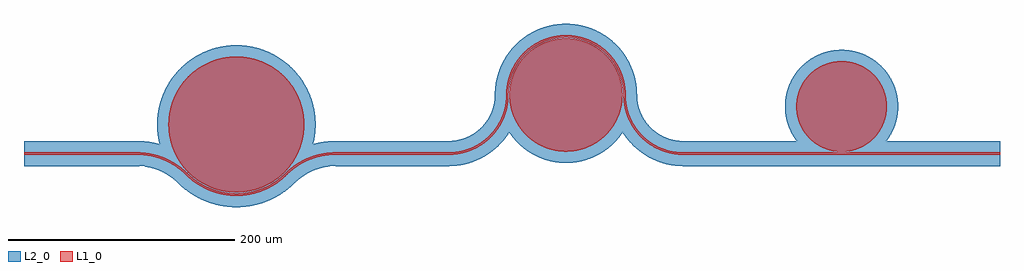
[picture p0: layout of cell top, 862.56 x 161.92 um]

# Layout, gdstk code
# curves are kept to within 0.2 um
import gdstk
lib = gdstk.Library(unit=1e-6, precision=1e-09)
def R(c, l, rs):  # rectangles x0, y0, x1, y1
    for r in rs: c.add(gdstk.rectangle(r[:2], r[2:], *l))
def P(c, l, *ps):  # polygons
    for p in ps: c.add(gdstk.Polygon(p, *l))
L1_0 = (1, 0)
L2_0 = (2, 0)

waveguide_1 = lib.new_cell('Waveguide_1')
R(waveguide_1, L1_0, [(0,-1,100,1)])
R(waveguide_1, L2_0, [(0,-11,100,11)])

waveguide_2 = lib.new_cell('Waveguide_2')
R(waveguide_2, L1_0, [(275.362,-1,375.362,1)])
R(waveguide_2, L2_0, [(275.362,-11,375.362,11)])

waveguide_3 = lib.new_cell('Waveguide_3')
R(waveguide_3, L1_0, [(582.562,-1,682.562,1)])
R(waveguide_3, L2_0, [(582.562,-11,682.562,11)])

waveguide_4 = lib.new_cell('Waveguide_4')
R(waveguide_4, L1_0, [(762.562,-1,862.562,1)])
R(waveguide_4, L2_0, [(762.562,-11,862.562,11)])

disk_1 = lib.new_cell('Disk_1')
P(disk_1, L1_0, [(87.681,25.681),(147.681,25.681),(147.433,31.13),(146.692,36.534),(145.462,41.848),(143.755,47.029),(141.585,52.033),(138.969,56.819),(135.929,61.348),(132.491,65.583),(128.318,69.825),(123.348,73.929),(117.967,77.477),(112.236,80.427),(106.222,82.745),(99.994,84.404),(94.117,85.335),(87.681,85.681)],
  [(87.681,25.681),(87.681,85.681),(82.232,85.433),(76.828,84.692),(71.992,83.594),(66.798,81.93),(61.776,79.801),(57.395,77.477),(53.222,74.799),(48.903,71.466),(45.255,68.108),(41.577,64.079),(38.564,60.141),(35.637,55.538),(33.349,51.138),(31.262,46.099),(29.641,40.891),(28.583,36.046),(27.886,30.636),(27.681,25.681)],
  [(87.681,25.681),(27.681,25.681),(28.142,18.26),(29.397,11.433),(30.773,6.669),(32.537,2.035),(34.679,-2.438),(37.182,-6.719),(40.03,-10.779),(43.203,-14.589),(46.681,-18.125),(50.438,-21.361),(54.864,-24.549),(59.124,-27.087),(63.58,-29.265),(68.199,-31.068),(72.952,-32.483),(77.806,-33.5),(82.726,-34.114),(87.681,-34.319)],
  [(87.681,25.681),(87.681,-34.319),(92.636,-34.114),(98.046,-33.417),(102.891,-32.359),(108.099,-30.738),(113.138,-28.651),(117.538,-26.363),(122.141,-23.436),(126.079,-20.423),(130.108,-16.745),(133.466,-13.097),(136.799,-8.778),(139.477,-4.605),(141.801,-0.224),(143.93,4.798),(145.594,9.992),(146.692,14.828),(147.433,20.232),(147.681,25.681)],
  [(0,1),(6.112,0.703),(12.166,-0.186),(18.105,-1.658),(23.873,-3.698),(29.867,-6.529),(35.107,-9.688),(40.016,-13.341),(44.548,-17.452),(43.134,-18.866),(38.746,-14.886),(33.992,-11.349),(28.918,-8.29),(23.572,-5.738),(18.003,-3.717),(12.264,-2.245),(5.918,-1.288),(0,-1)],
  [(43.134,-18.866),(47.665,-22.978),(52.574,-26.63),(57.815,-29.789),(63.337,-32.425),(69.088,-34.513),(75.516,-36.133),(81.57,-37.022),(87.681,-37.319),(87.681,-35.319),(81.764,-35.031),(75.902,-34.171),(70.151,-32.746),(64.566,-30.769),(59.199,-28.261),(53.689,-24.97),(48.936,-21.433),(44.548,-17.452)],
  [(87.681,-37.319),(93.793,-37.022),(99.847,-36.133),(106.274,-34.513),(112.026,-32.425),(117.548,-29.789),(122.788,-26.63),(127.697,-22.978),(132.229,-18.866),(130.815,-17.452),(126.427,-21.433),(121.674,-24.97),(116.164,-28.261),(110.797,-30.769),(105.211,-32.746),(99.461,-34.171),(93.599,-35.031),(87.681,-35.319)],
  [(130.815,-17.452),(135.346,-13.341),(140.256,-9.688),(145.946,-6.289),(151.489,-3.698),(157.258,-1.658),(163.197,-0.186),(169.251,0.703),(175.362,1),(175.362,-1),(169.445,-1.288),(163.583,-2.148),(157.832,-3.573),(152.247,-5.549),(146.88,-8.058),(141.781,-11.075),(137,-14.573),(132.229,-18.866)])
P(disk_1, L2_0, [(87.681,25.681),(157.681,25.681),(157.386,32.109),(156.597,37.954),(155.179,44.23),(153.378,49.847),(151.11,55.292),(148.123,60.99),(144.936,65.954),(140.997,71.041),(134.254,77.94),(126.627,83.847),(118.26,88.649),(109.312,92.255)],
  [(87.681,25.681),(109.312,92.255),(102.06,94.189),(94.109,95.386),(85,95.63),(75.937,94.689),(67.073,92.579),(58.558,89.335),(50.536,85.013),(43.559,80.025),(36.874,73.834),(31.05,66.826)],
  [(87.681,25.681),(31.05,66.826),(27.511,61.453),(22.958,52.345),(19.775,42.674),(18.028,32.643),(17.755,22.464),(18.962,12.354),(21.622,2.526),(25.68,-6.813),(31.05,-15.464)],
  [(87.681,25.681),(31.05,-15.464),(34.366,-19.678),(37.994,-23.626),(42.322,-27.634),(46.536,-30.95),(51.45,-34.213),(56.141,-36.811),(61.017,-39.042),(66.05,-40.893),(71.21,-42.353),(76.466,-43.414),(81.788,-44.07),(87.145,-44.317),(92.505,-44.152),(97.836,-43.578),(103.108,-42.598),(108.802,-41.057),(109.312,-40.893)],
  [(87.681,25.681),(109.312,-40.893),(117.777,-37.519),(125.731,-33.074),(133.041,-27.634),(139.582,-21.291),(145.547,-13.709),(150.173,-5.859),(153.74,2.526),(156.189,11.302),(157.279,18.186),(157.681,25.681)],
  [(0,11),(7.082,10.656),(14.676,9.51),(21.544,7.749),(28.209,5.33),(34.607,2.275),(40.679,-1.385),(46.368,-5.617),(51.619,-10.381),(36.062,-25.938),(32.394,-22.609),(28.42,-19.652),(24.178,-17.095),(19.326,-14.804),(14.656,-13.151),(9.848,-11.96),(4.948,-11.241),(0,-11)],
  [(36.062,-25.938),(41.313,-30.702),(47.002,-34.934),(53.074,-38.594),(60.019,-41.875),(66.703,-44.239),(73.585,-45.945),(80.6,-46.974),(87.681,-47.319),(87.681,-25.319),(82.734,-25.078),(77.833,-24.359),(73.025,-23.167),(68.355,-21.515),(63.868,-19.418),(59.605,-16.895),(55.287,-13.71),(51.619,-10.381)],
  [(87.681,-47.319),(94.763,-46.974),(101.778,-45.945),(108.66,-44.239),(115.344,-41.875),(122.289,-38.594),(128.361,-34.934),(134.049,-30.702),(139.3,-25.938),(123.744,-10.381),(120.075,-13.71),(116.101,-16.666),(111.859,-19.224),(107.389,-21.357),(102.733,-23.047),(97.53,-24.359),(92.629,-25.078),(87.681,-25.319)],
  [(123.744,-10.381),(128.995,-5.617),(134.683,-1.385),(140.755,2.275),(147.154,5.33),(153.818,7.749),(160.686,9.51),(168.281,10.656),(175.362,11),(175.362,-11),(170.004,-11.282),(165.109,-12.041),(160.311,-13.272),(155.655,-14.962),(151.185,-17.095),(146.943,-19.652),(142.969,-22.609),(139.3,-25.938)])

disk_2 = lib.new_cell('Disk_2')
P(disk_2, L1_0, [(103.6,51.8),(153.6,51.8),(153.351,56.786),(152.694,61.276),(151.632,65.689),(150.008,70.409),(147.921,74.943),(145.393,79.247),(142.448,83.278),(139.434,86.671),(135.778,90.07),(131.802,93.088),(127.544,95.694),(123.048,97.863),(118.358,99.572),(113.521,100.806),(108.586,101.551),(103.6,101.8)],
  [(103.6,51.8),(103.6,101.8),(98.614,101.551),(94.124,100.894),(89.711,99.832),(84.991,98.208),(80.457,96.121),(76.153,93.593),(72.122,90.648),(68.729,87.634),(65.33,83.978),(62.312,80.002),(59.706,75.744),(57.537,71.248),(55.828,66.558),(54.594,61.721),(53.849,56.786),(53.6,51.8)],
  [(103.6,51.8),(53.6,51.8),(53.849,46.814),(54.506,42.324),(55.568,37.911),(57.192,33.191),(59.279,28.657),(61.807,24.353),(64.752,20.322),(67.766,16.929),(71.422,13.53),(75.398,10.512),(79.656,7.906),(84.152,5.737),(88.842,4.028),(93.679,2.794),(98.614,2.049),(103.6,1.8)],
  [(103.6,51.8),(103.6,1.8),(108.586,2.049),(113.076,2.706),(117.489,3.768),(122.209,5.392),(126.743,7.479),(131.047,10.007),(135.078,12.952),(138.471,15.966),(141.87,19.622),(144.888,23.598),(147.494,27.856),(149.663,32.352),(151.372,37.042),(152.606,41.879),(153.351,46.814),(153.6,51.8)],
  [(0,-1),(5.117,-0.751),(10.186,-0.008),(15.16,1.223),(19.99,2.93),(25.044,5.317),(29.431,7.963),(33.541,11.022),(37.335,14.465),(35.921,15.879),(32.227,12.531),(28.223,9.561),(23.947,6.998),(19.44,4.867),(14.746,3.187),(9.911,1.976),(4.979,1.245),(0,1)],
  [(37.335,14.465),(40.778,18.259),(43.837,22.369),(46.483,26.756),(48.87,31.81),(50.577,36.64),(51.808,41.614),(52.551,46.683),(52.8,51.8),(50.8,51.8),(50.555,46.821),(49.824,41.889),(48.613,37.054),(46.933,32.36),(44.802,27.853),(42.239,23.577),(39.269,19.573),(35.921,15.879)],
  [(50.8,51.8),(51.049,56.917),(51.792,61.986),(53.023,66.96),(54.73,71.79),(57.117,76.844),(59.763,81.231),(62.822,85.341),(66.265,89.135),(67.679,87.721),(64.331,84.027),(61.361,80.023),(58.798,75.747),(56.667,71.24),(54.987,66.546),(53.776,61.711),(53.045,56.779),(52.8,51.8)],
  [(66.265,89.135),(70.059,92.578),(74.169,95.637),(78.556,98.283),(83.61,100.67),(88.44,102.377),(93.414,103.608),(98.483,104.351),(103.6,104.6),(103.6,102.6),(98.621,102.355),(93.689,101.624),(88.854,100.413),(84.16,98.733),(79.653,96.602),(75.377,94.039),(71.373,91.069),(67.679,87.721)],
  [(103.6,104.6),(108.717,104.351),(113.786,103.608),(118.76,102.377),(123.59,100.67),(128.644,98.283),(133.031,95.637),(137.141,92.578),(140.935,89.135),(139.521,87.721),(135.827,91.069),(131.823,94.039),(127.547,96.602),(123.04,98.733),(118.346,100.413),(113.511,101.624),(108.579,102.355),(103.6,102.6)],
  [(140.935,89.135),(144.378,85.341),(147.437,81.231),(150.083,76.844),(152.47,71.79),(154.177,66.96),(155.408,61.986),(156.151,56.917),(156.4,51.8),(154.4,51.8),(154.155,56.779),(153.424,61.711),(152.213,66.546),(150.533,71.24),(148.402,75.747),(145.839,80.023),(142.869,84.027),(139.521,87.721)],
  [(154.4,51.8),(154.649,46.683),(155.392,41.614),(156.623,36.64),(158.33,31.81),(160.717,26.756),(163.363,22.369),(166.422,18.259),(169.865,14.465),(171.279,15.879),(167.931,19.573),(164.961,23.577),(162.398,27.853),(160.267,32.36),(158.587,37.054),(157.376,41.889),(156.645,46.821),(156.4,51.8)],
  [(169.865,14.465),(173.659,11.022),(177.769,7.963),(182.156,5.317),(187.21,2.93),(192.04,1.223),(197.014,-0.008),(202.083,-0.751),(207.2,-1),(207.2,1),(202.221,1.245),(197.289,1.976),(192.454,3.187),(187.76,4.867),(183.253,6.998),(178.977,9.561),(174.973,12.531),(171.279,15.879)])
P(disk_2, L2_0, [(103.6,51.8),(163.6,51.8),(162.937,60.696),(161.106,68.92),(158.14,76.807),(154.1,84.201),(149.704,90.198),(144.6,95.606),(138.867,100.341),(132.592,104.331),(125.872,107.513),(118.329,109.964),(111.022,111.339),(103.6,111.8)],
  [(103.6,51.8),(103.6,111.8),(94.704,111.137),(86.48,109.306),(78.593,106.34),(71.199,102.3),(65.202,97.904),(59.794,92.8),(55.059,87.067),(51.069,80.792),(47.887,74.072),(45.436,66.529),(44.061,59.222),(43.6,51.8)],
  [(103.6,51.8),(43.6,51.8),(44.263,42.904),(46.094,34.68),(49.06,26.793),(53.1,19.399),(57.496,13.402),(62.6,7.994),(68.333,3.259),(74.608,-0.731),(81.328,-3.913),(88.871,-6.364),(96.178,-7.739),(103.6,-8.2)],
  [(103.6,51.8),(103.6,-8.2),(112.496,-7.537),(120.72,-5.706),(128.607,-2.74),(136.001,1.3),(141.998,5.696),(147.406,10.8),(152.141,16.533),(156.131,22.808),(159.313,29.528),(161.764,37.071),(163.139,44.378),(163.6,51.8)],
  [(0,-11),(6.638,-10.648),(12.659,-9.711),(18.561,-8.194),(24.288,-6.113),(29.787,-3.486),(35.005,-0.339),(39.893,3.299),(44.406,7.394),(28.85,22.95),(22.667,17.876),(15.613,14.106),(7.96,11.784),(0,11)],
  [(44.406,7.394),(48.501,11.907),(52.139,16.795),(55.286,22.013),(57.913,27.512),(59.994,33.239),(61.511,39.141),(62.448,45.162),(62.8,51.8),(40.8,51.8),(40.016,43.84),(37.694,36.187),(33.924,29.133),(28.85,22.95)],
  [(40.8,51.8),(41.152,58.438),(42.089,64.459),(43.606,70.361),(45.687,76.088),(48.314,81.587),(51.461,86.805),(55.099,91.693),(59.194,96.206),(74.75,80.65),(69.676,74.467),(65.906,67.413),(63.584,59.76),(62.8,51.8)],
  [(59.194,96.206),(63.707,100.301),(68.595,103.939),(73.813,107.086),(79.312,109.713),(85.039,111.794),(90.941,113.311),(96.962,114.248),(103.6,114.6),(103.6,92.6),(95.64,91.816),(87.987,89.494),(80.933,85.724),(74.75,80.65)],
  [(103.6,114.6),(110.238,114.248),(116.259,113.311),(122.161,111.794),(127.888,109.713),(133.387,107.086),(138.605,103.939),(143.493,100.301),(148.006,96.206),(132.45,80.65),(126.267,85.724),(119.213,89.494),(111.56,91.816),(103.6,92.6)],
  [(148.006,96.206),(152.101,91.693),(155.739,86.805),(158.886,81.587),(161.513,76.088),(163.594,70.361),(165.111,64.459),(166.048,58.438),(166.4,51.8),(144.4,51.8),(143.616,59.76),(141.294,67.413),(137.524,74.467),(132.45,80.65)],
  [(144.4,51.8),(144.752,45.162),(145.689,39.141),(147.206,33.239),(149.287,27.512),(151.914,22.013),(155.061,16.795),(158.699,11.907),(162.794,7.394),(178.35,22.95),(173.276,29.133),(169.506,36.187),(167.184,43.84),(166.4,51.8)],
  [(162.794,7.394),(167.307,3.299),(172.195,-0.339),(177.413,-3.486),(182.912,-6.113),(188.639,-8.194),(194.541,-9.711),(200.562,-10.648),(207.2,-11),(207.2,11),(199.24,11.784),(191.587,14.106),(184.533,17.876),(178.35,22.95)])

disk_3 = lib.new_cell('Disk_3')
R(disk_3, L1_0, [(0,-1,80,1)])
P(disk_3, L1_0, [(40,41.6),(80,41.6),(79.539,47.657),(78.166,53.575),(75.732,59.579),(72.597,64.782),(68.427,69.741),(63.838,73.721),(58.34,77.148),(52.746,79.515),(46.457,81.075),(40,81.6)],
  [(40,41.6),(40,81.6),(33.943,81.139),(28.025,79.766),(22.021,77.332),(16.818,74.197),(11.859,70.027),(7.879,65.438),(4.452,59.94),(2.085,54.346),(0.525,48.057),(0,41.6)],
  [(40,41.6),(0,41.6),(0.461,35.543),(1.834,29.625),(4.268,23.621),(7.403,18.418),(11.573,13.459),(16.162,9.479),(21.66,6.052),(27.254,3.685),(33.543,2.125),(40,1.6)],
  [(40,41.6),(40,1.6),(46.057,2.061),(51.975,3.434),(57.979,5.868),(63.182,9.003),(68.141,13.173),(72.121,17.762),(75.548,23.26),(77.915,28.854),(79.475,35.143),(80,41.6)])
R(disk_3, L2_0, [(0,-11,80,11)])
P(disk_3, L2_0, [(40,41.6),(90,41.6),(89.751,46.586),(89.094,51.076),(88.032,55.489),(86.408,60.209),(84.321,64.743),(81.793,69.047),(78.848,73.078),(75.834,76.471),(72.178,79.87),(68.202,82.888),(63.944,85.494),(59.448,87.663),(54.758,89.372),(49.921,90.606),(44.986,91.351),(40,91.6)],
  [(40,41.6),(40,91.6),(35.014,91.351),(30.524,90.694),(26.111,89.632),(21.391,88.008),(16.857,85.921),(12.553,83.393),(8.522,80.448),(5.129,77.434),(1.73,73.778),(-1.288,69.802),(-3.894,65.544),(-6.063,61.048),(-7.772,56.358),(-9.006,51.521),(-9.751,46.586),(-10,41.6)],
  [(40,41.6),(-10,41.6),(-9.751,36.614),(-9.094,32.124),(-8.032,27.711),(-6.408,22.991),(-4.321,18.457),(-1.793,14.153),(1.152,10.122),(4.166,6.729),(7.822,3.33),(11.798,0.312),(16.056,-2.294),(20.552,-4.463),(25.242,-6.172),(30.079,-7.406),(35.014,-8.151),(40,-8.4)],
  [(40,41.6),(40,-8.4),(44.986,-8.151),(49.476,-7.494),(53.889,-6.432),(58.609,-4.808),(63.143,-2.721),(67.447,-0.193),(71.478,2.752),(74.871,5.766),(78.27,9.422),(81.288,13.398),(83.894,17.656),(86.063,22.152),(87.772,26.842),(89.006,31.679),(89.751,36.614),(90,41.6)])

top = lib.new_cell('top')
top.add(gdstk.Reference(waveguide_1, (0,0)))
top.add(gdstk.Reference(waveguide_2, (0,0)))
top.add(gdstk.Reference(waveguide_3, (0,0)))
top.add(gdstk.Reference(waveguide_4, (0,0)))
top.add(gdstk.Reference(disk_1, (100,0)))
top.add(gdstk.Reference(disk_2, (375.362,0)))
top.add(gdstk.Reference(disk_3, (682.562,0)))

lib.write_gds('top.gds')
